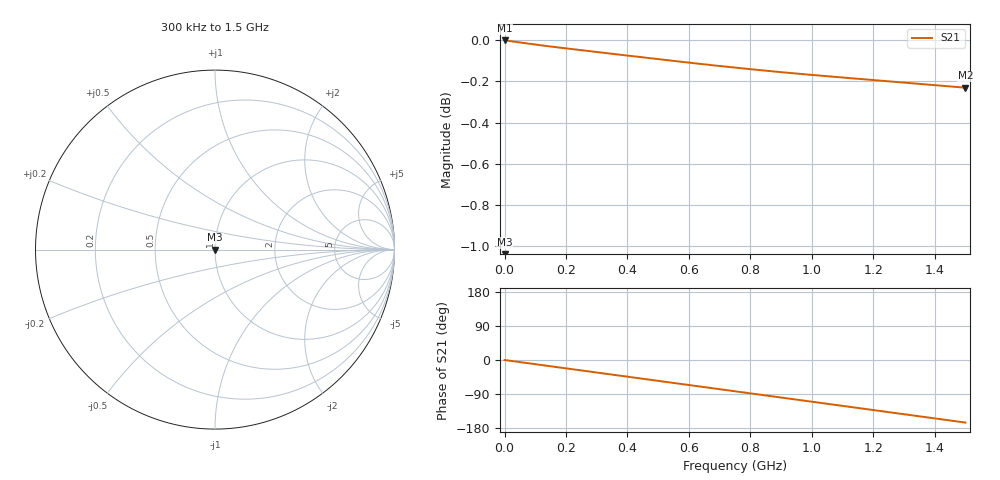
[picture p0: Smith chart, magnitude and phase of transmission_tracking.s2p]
! Created with skrf 1.8.0 (http://scikit-rf.org).
# Hz S RI R 50.0
!freq ReS11 ImS11 ReS21 ImS21 ReS12 ImS12 ReS22 ImS22
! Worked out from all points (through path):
!   5000 points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, 300 kHz to 1.5 GHz, reference 50 ohm
!   highest |S21| = 0.00 dB at 900 kHz (marker M1); lowest = -0.2 dB at 1.5 GHz (marker M2)
!   group delay of S21, straight-line fit = 305 ps
!   lowest |S11| = - dB at 300 kHz (marker M3), VSWR 1.00, Z = 50 + j0 ohm
!   |S11| at or under -10 dB: start of sweep to end of sweep
!   S12 and S22 are empty: the file has one direction only
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300000  0 0  0.9999 -0.000671  0 0  0 0
900000  0 0  0.9999 -0.00179  0 0  0 0
6.21e7  0 0  0.9914 -0.1193  0 0  0 0
1.242e8  0 0  0.9687 -0.2363  0 0  0 0
1.869e8  0 0  0.932 -0.3506  0 0  0 0
2.505e8  0 0  0.8812 -0.461  0 0  0 0
3.708e8  0 0  0.7504 -0.649  0 0  0 0
5.004e8  0 0  0.5661 -0.8116  0 0  0 0
5.643e8  0 0  0.462 -0.8736  0 0  0 0
6.27e8  0 0  0.3535 -0.9216  0 0  0 0
6.888e8  0 0  0.2418 -0.9558  0 0  0 0
7.503e8  0 0  0.1275 -0.9766  0 0  0 0
8.124e8  0 0  0.0106 -0.9837  0 0  0 0
8.745e8  0 0  -0.1062 -0.977  0 0  0 0
9.369e8  0 0  -0.2219 -0.9564  0 0  0 0
1.0002e9  0 0  -0.3358 -0.9216  0 0  0 0
1.1217e9  0 0  -0.5388 -0.8176  0 0  0 0
1.2501e9  0 0  -0.7208 -0.66  0 0  0 0
1.3155e9  0 0  -0.7972 -0.5638  0 0  0 0
1.3788e9  0 0  -0.8591 -0.4623  0 0  0 0
1.4418e9  0 0  -0.9079 -0.3546  0 0  0 0
1.5e9  0 0  -0.9411 -0.2505  0 0  0 0
